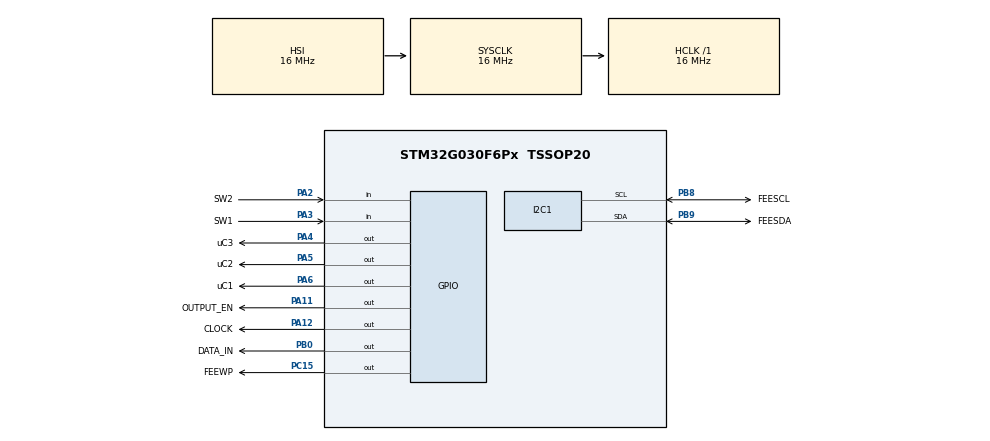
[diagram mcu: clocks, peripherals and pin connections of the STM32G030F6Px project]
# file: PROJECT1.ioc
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I2C1.Timing=0x00503D58
Mcu.Family=STM32G0
Mcu.Name=STM32G030F6Px
Mcu.Package=TSSOP20
NVIC.TIM14_IRQn=true\:0\:0\:false\:false\:true\:true\:true\:true
PA11\ [PA9].GPIO_Label=OUTPUT_EN
PA11\ [PA9].GPIO_ModeDefaultOutputPP=GPIO_MODE_OUTPUT_OD
PA11\ [PA9].GPIO_PuPd=GPIO_NOPULL
PA11\ [PA9].PinState=GPIO_PIN_SET
PA11\ [PA9].Signal=GPIO_Output
PA12\ [PA10].GPIO_Label=CLOCK
PA12\ [PA10].GPIO_ModeDefaultOutputPP=GPIO_MODE_OUTPUT_OD
PA12\ [PA10].GPIO_PuPd=GPIO_NOPULL
PA12\ [PA10].Signal=GPIO_Output
PA14-BOOT0__PA15.StandardMode=true
PA2.GPIO_Label=SW2
PA2.Signal=GPIO_Input
PA3.GPIO_Label=SW1
PA3.Signal=GPIO_Input
PA4.GPIO_Label=uC3
PA4.GPIO_ModeDefaultOutputPP=GPIO_MODE_OUTPUT_PP
PA4.GPIO_PuPd=GPIO_NOPULL
PA4.Signal=GPIO_Output
PA5.GPIO_Label=uC2
PA5.GPIO_ModeDefaultOutputPP=GPIO_MODE_OUTPUT_PP
PA5.GPIO_PuPd=GPIO_NOPULL
PA5.Signal=GPIO_Output
PA6.GPIO_Label=uC1
PA6.GPIO_ModeDefaultOutputPP=GPIO_MODE_OUTPUT_PP
PA6.GPIO_PuPd=GPIO_NOPULL
PA6.Signal=GPIO_Output
PB0.GPIO_Label=DATA_IN
PB0.GPIO_ModeDefaultOutputPP=GPIO_MODE_OUTPUT_OD
PB0.GPIO_PuPd=GPIO_NOPULL
PB0.Signal=GPIO_Output
PB0__PB1__PB2__PA8.StandardMode=true
PB3__PB4__PB5__PB6.StandardMode=true
PB7__PB8.StandardMode=true
PB8.GPIO_Label=FEESCL
PB8.GPIO_Speed=GPIO_SPEED_FREQ_HIGH
PB8.Mode=I2C
PB8.Signal=I2C1_SCL
PB9.GPIO_Label=FEESDA
PB9.GPIO_Speed=GPIO_SPEED_FREQ_HIGH
PB9.Mode=I2C
PB9.Signal=I2C1_SDA
PC14-OSC32_IN\ (PC14)__PB9.StandardMode=true
PC15-OSC32_OUT\ (PC15).GPIO_Label=FEEWP
PC15-OSC32_OUT\ (PC15).GPIO_ModeDefaultOutputPP=GPIO_MODE_OUTPUT_OD
PC15-OSC32_OUT\ (PC15).GPIO_PuPd=GPIO_NOPULL
PC15-OSC32_OUT\ (PC15).Signal=GPIO_Output
ProjectManager.HeapSize=0x200
ProjectManager.StackSize=0x400
ProjectManager.TargetToolchain=STM32CubeIDE
RCC.AHBFreq_Value=16000000
RCC.CortexFreq_Value=16000000
RCC.EXTERNAL_CLOCK_VALUE=12288000
RCC.HCLKFreq_Value=16000000
RCC.HSE_VALUE=8000000
RCC.HSI_VALUE=16000000
RCC.LSE_VALUE=32768
RCC.SYSCLKFreq_VALUE=16000000
RCC.VCOOutputFreq_Value=128000000
TIM14.Period=1000
TIM14.Prescaler=15
VP_TIM14_VS_ClockSourceINT.Mode=Enable_Timer
board=custom

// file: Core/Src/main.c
/* USER CODE BEGIN Header */
/**
  ******************************************************************************
  * @file           : main.c
  * @brief          : Main program body
  ******************************************************************************
  * @attention
  *
  * Copyright (c) 2026 STMicroelectronics.
  * All rights reserved.
  *
  * This software is licensed under terms that can be found in the LICENSE file
  * in the root directory of this software component.
  * If no LICENSE file comes with this software, it is provided AS-IS.
  *
  ******************************************************************************
  */
/* USER CODE END Header */
#include "main.h"

I2C_HandleTypeDef hi2c1;

TIM_HandleTypeDef htim14;

/* USER CODE BEGIN PV */
int16_t TimRef;
int state=1;
int KeyReadFlg=0;
int sw1_status;
int sw2_status;
int sw1_lock=0;
int sw1_lk=0;
int sw2_lk=0;
int sw2_lock=0;
int blink;
int8_t j=0;
int8_t data;
int8_t LedData;
uint8_t digit[10] =
{
    0b01111110, // 0
    0b00110000, // 1
    0b01101101, // 2
    0b01111001, // 3
    0b00110011, // 4
    0b01011011, // 5
    0b01011111, // 6
    0b01110000, // 7
    0b01111111, // 8
	0b01111011
};
uint8_t SetValue = 0;
uint8_t SetMode =0 ;
uint8_t number = 0;
int16_t Tim=0;
uint8_t ones;
uint8_t tens;
uint32_t SetModeTimer = 0;
uint32_t ResetModeTimer = 0;
uint8_t BlinkState = 1;
uint32_t BlinkTimer = 0;
uint32_t SW1PressTimer = 0;
uint32_t SW2PressTimer = 0;

uint8_t SW1LongPress = 0;
uint8_t SW2LongPress = 0;
uint32_t SW1RepeatTimer = 0;
uint32_t SW2RepeatTimer = 0;
/* USER CODE END PV */

void SystemClock_Config(void);
static void MX_GPIO_Init(void);
static void MX_TIM14_Init(void);
static void MX_I2C1_Init(void);
/* USER CODE BEGIN PFP */
//void keyread(void);
//void ledblink(void);
//void keyaction(void);
//void display(void);
//void store(void);
/* USER CODE END PFP */

int main(void)
{

  /* MCU Configuration--------------------------------------------------------*/

  /* Reset of all peripherals, Initializes the Flash interface and the Systick. */
  HAL_Init();

  /* Configure the system clock */
  SystemClock_Config();

  /* Initialize all configured peripherals */
  MX_GPIO_Init();
  MX_TIM14_Init();
  MX_I2C1_Init();
  /* USER CODE BEGIN 2 */
  // DATA = 1
//  {
//  while(1)
//	  HAL_Delay(500);
//	  HAL_GPIO_TogglePin(OUTPUT_EN_GPIO_Port, OUTPUT_EN_Pin);
//	  HAL_GPIO_TogglePin(CLOCK_GPIO_Port, CLOCK_Pin);
//	  HAL_GPIO_TogglePin(DATA_IN_GPIO_Port, DATA_IN_Pin);
//  }
//  HAL_Delay(1000);
//  HAL_GPIO_WritePin(uC1_GPIO_Port, uC1_Pin, GPIO_PIN_RESET);
//  HAL_GPIO_WritePin(uC2_GPIO_Port, uC2_Pin, GPIO_PIN_RESET);
//  HAL_GPIO_WritePin(uC3_GPIO_Port, uC3_Pin, GPIO_PIN_RESET);
//
//  HAL_GPIO_WritePin(CLOCK_GPIO_Port, CLOCK_Pin, GPIO_PIN_RESET);
//  HAL_GPIO_WritePin(OUTPUT_EN_GPIO_Port, OUTPUT_EN_Pin, GPIO_PIN_SET);
//
//  // 8 clock pulses
//  for(int i=0; i<8; i++)
//  {
//	  HAL_GPIO_WritePin(DATA_IN_GPIO_Port, DATA_IN_Pin, GPIO_PIN_SET);
//	  HAL_Delay(5);
//	  HAL_GPIO_WritePin(CLOCK_GPIO_Port, CLOCK_Pin, GPIO_PIN_SET);
//	  HAL_Delay(5);
//	  HAL_GPIO_WritePin(CLOCK_GPIO_Port, CLOCK_Pin, GPIO_PIN_RESET);
//  }
//  HAL_GPIO_WritePin(CLOCK_GPIO_Port, CLOCK_Pin, GPIO_PIN_SET);
//  HAL_Delay(20);
//  HAL_GPIO_WritePin(CLOCK_GPIO_Port, CLOCK_Pin, GPIO_PIN_RESET);
//  HAL_GPIO_WritePin(DATA_IN_GPIO_Port, DATA_IN_Pin, GPIO_PIN_RESET);
//  HAL_GPIO_WritePin(OUTPUT_EN_GPIO_Port, OUTPUT_EN_Pin, GPIO_PIN_RESET);
//  HAL_GPIO_WritePin(uC1_GPIO_Port, uC1_Pin, GPIO_PIN_SET);
//  HAL_GPIO_WritePin(uC2_GPIO_Port, uC2_Pin, GPIO_PIN_SET);
//  HAL_GPIO_WritePin(uC3_GPIO_Port, uC3_Pin, GPIO_PIN_SET);
//HAL_GPIO_WritePin(FEEWP_GPIO_Port, FEEWP_Pin, GPIO_PIN_RESET);
//HAL_I2C_Mem_Write(&hi2c1, 0XA0, 0, 1,digit, sizeof(digit), 1000);
//HAL_GPIO_WritePin(FEEWP_GPIO_Port, FEEWP_Pin, GPIO_PIN_SET);
//HAL_I2C_Mem_Read(&hi2c1, 0XA1, 0, 1, empty , sizeof(empty), 1000);

//  while(1)
//  {
//	  if(TimRef ==1)
//	  {
//		  TimRef=0;
//		  Tim++;
//		  switch (Tim) {
//			case 1:
//				LedData = 0b00000000;
//				break;
//			case 2:
//				LedData = 0b00010000;
//				break;
////			case 3:
////				LedData = 0b00000000;
//				break;
//			default:
//				if(Tim >=2)
//				{
//					Tim=0;
//				}
//				break;
//		}
//		HAL_GPIO_WritePin(uC3_GPIO_Port, uC3_Pin, GPIO_PIN_SET);
//		  for(int i=0;i<8;i++)
//		  {
//			  if(data & (1<<i))
//				  HAL_GPIO_WritePin(DATA_IN_GPIO_Port,DATA_IN_Pin,GPIO_PIN_SET);
//			  else
//				  HAL_GPIO_WritePin(DATA_IN_GPIO_Port,DATA_IN_Pin,GPIO_PIN_RESET);
//
//			  HAL_GPIO_WritePin(CLOCK_GPIO_Port,CLOCK_Pin,GPIO_PIN_SET);
//			  HAL_GPIO_WritePin(CLOCK_GPIO_Port,CLOCK_Pin,GPIO_PIN_RESET);
//		  }
//
//		  HAL_GPIO_WritePin(OUTPUT_EN_GPIO_Port,OUTPUT_EN_Pin,GPIO_PIN_RESET);
//		  HAL_Delay(1000);
//
//	  }
//
//  }

  /* USER CODE END 2 */

  /* Infinite loop */
  while (1)
  {

    /* USER CODE BEGIN 3 */
//	    data = digit[j];
//
//	    HAL_GPIO_WritePin(OUTPUT_EN_GPIO_Port,OUTPUT_EN_Pin,GPIO_PIN_SET);
//
//	    for(int i=0; i<8; i++)
//	    {
//	        if(data & (1<<i))
//	        {
//	            HAL_GPIO_WritePin(DATA_IN_GPIO_Port,DATA_IN_Pin,GPIO_PIN_SET);
//	        }
//	        else
//	        {
//	            HAL_GPIO_WritePin(DATA_IN_GPIO_Port,DATA_IN_Pin,GPIO_PIN_RESET);
//	        }
//
//	        HAL_GPIO_WritePin(CLOCK_GPIO_Port,CLOCK_Pin,GPIO_PIN_SET);
//
//	        HAL_Delay(5);
//
//	        HAL_GPIO_WritePin(CLOCK_GPIO_Port,CLOCK_Pin,GPIO_PIN_RESET);
//
//	        HAL_Delay(5);
//	    }
//
//	    HAL_GPIO_WritePin(OUTPUT_EN_GPIO_Port,OUTPUT_EN_Pin,GPIO_PIN_RESET);
//
//	    HAL_Delay(1000);
//
//	    j++;
//
//	    if(j > 9)
//	    {
//	        j = 0;
//	    }
//	  HAL_GPIO_WritePin(FEEWP_GPIO_Port, FEEWP_Pin, GPIO_PIN_SET);
//	  HAL_I2C_Mem_Read(&hi2c1, 0XA0, 0x00,I2C_MEMADD_SIZE_8BIT,&number,1,1000);
//	  if(TimRef)
//	  {
//		  TimRef =0;
//		  Tim++;
//		  switch(state)
//		  {
//		      case 1:
//
//		          keyread();
//
//		          if(KeyReadFlg == 1)
//		          {
//
//		              keyaction();
//		              KeyReadFlg = 0;
//		              store();
//		          }
//
//		          break;
//		default:
//				if(Tim>=4)
//				{
//					Tim = 0;
//				}
//				break;
//		}
//		  display();
//	  }
      for(int refresh=0; refresh<100; refresh++)
	      {
    	  //state selection
			  if(state == 1)
			  {
				  if(HAL_GPIO_ReadPin(SW1_GPIO_Port, SW1_Pin)==GPIO_PIN_RESET &&
					 HAL_GPIO_ReadPin(SW2_GPIO_Port, SW2_Pin)==GPIO_PIN_RESET)
				  {
					  if(SetModeTimer == 0)
					  {
						  SetModeTimer = HAL_GetTick();
					  }

					  if((HAL_GetTick() - SetModeTimer) >= 2000)
					  {
						  state = 2;

						  HAL_GPIO_WritePin(uC3_GPIO_Port,uC3_Pin,	GPIO_PIN_SET);
						  blink =1;
						  HAL_GPIO_WritePin(FEEWP_GPIO_Port,	FEEWP_Pin,GPIO_PIN_SET);

						  HAL_I2C_Mem_Read(&hi2c1, 0xA0, 0x01, I2C_MEMADD_SIZE_8BIT,  &SetValue,  1,1000);

						  ResetModeTimer = HAL_GetTick();
					  }
				  }
				  else
				  {
					  SetModeTimer = 0;
				  }
			  }
			  if(state == 2)
			  {
			      if((HAL_GetTick() - BlinkTimer) >= 500)
			      {
			          BlinkTimer = HAL_GetTick();
			          if(BlinkState==0)
			          {
			        	  BlinkState=1;
			          }
			          else
			          {
			        	  BlinkState=0;
			          }
			      }
			  }
			  else
			  {
			      BlinkState = 1;
			  }
	    	  if(state==1)
	    	  {
				  //NORMAL MODE
				  HAL_GPIO_WritePin(FEEWP_GPIO_Port, FEEWP_Pin, GPIO_PIN_SET);
				  HAL_I2C_Mem_Read(&hi2c1, 0XA0, 0x00,I2C_MEMADD_SIZE_8BIT,&number,1,1000);
				  tens = number / 10;
				  ones = number % 10;

				  if(HAL_GPIO_ReadPin(SW1_GPIO_Port, SW1_Pin)==GPIO_PIN_RESET)
				  {
					  if(sw1_lock==0)
					  {
						  number++;
						  if(number>99)
						  {
							  number=0;
						  }
						  HAL_GPIO_WritePin(FEEWP_GPIO_Port, FEEWP_Pin, GPIO_PIN_RESET);
						  HAL_I2C_Mem_Write(&hi2c1,0xA0,0x00,I2C_MEMADD_SIZE_8BIT,&number,1,1000);
						  HAL_GPIO_WritePin(FEEWP_GPIO_Port, FEEWP_Pin, GPIO_PIN_SET);

						  tens = number / 10;
						  ones = number % 10;
						  sw1_lock=1;
					   }
				  }
				  else
				  {
					  sw1_lock =0;
				  }
				  if(HAL_GPIO_ReadPin(SW2_GPIO_Port, SW2_Pin)==GPIO_PIN_RESET)
				  {
					  if(sw2_lock==0)
					  {
						  if(number==0)
						  {
							  number=99;
						  }
						  else
						  {
							  number--;
						  }

						  HAL_GPIO_WritePin(FEEWP_GPIO_Port, FEEWP_Pin, GPIO_PIN_RESET);

						  HAL_I2C_Mem_Write(&hi2c1,0xA0,0x00,I2C_MEMADD_SIZE_8BIT, &number, 1,1000);
						  HAL_GPIO_WritePin(FEEWP_GPIO_Port, FEEWP_Pin, GPIO_PIN_SET);

						  tens = number / 10;
						  ones = number % 10;
						  sw2_lock =1;
					  }
				  }
				  else
								  {
									  sw2_lock =0;
								  }

//				  //left
//
//				  HAL_GPIO_WritePin(uC2_GPIO_Port,uC2_Pin,GPIO_PIN_RESET);
//				  HAL_GPIO_WritePin(uC1_GPIO_Port,uC1_Pin,GPIO_PIN_SET);
//
//				  HAL_GPIO_WritePin(OUTPUT_EN_GPIO_Port,OUTPUT_EN_Pin,GPIO_PIN_SET);
//
//				  data = digit[tens];
//
//				  for(int i=0;i<8;i++)
//				  {
//					  if(data & (1<<i))
//						  HAL_GPIO_WritePin(DATA_IN_GPIO_Port,DATA_IN_Pin,GPIO_PIN_SET);
//					  else
//						  HAL_GPIO_WritePin(DATA_IN_GPIO_Port,DATA_IN_Pin,GPIO_PIN_RESET);
//
//					  HAL_GPIO_WritePin(CLOCK_GPIO_Port,CLOCK_Pin,GPIO_PIN_SET);
//					  HAL_GPIO_WritePin(CLOCK_GPIO_Port,CLOCK_Pin,GPIO_PIN_RESET);
//				  }
//
//				  HAL_GPIO_WritePin(OUTPUT_EN_GPIO_Port,OUTPUT_EN_Pin,GPIO_PIN_RESET);
//
//				  HAL_Delay(5);
//
//				  //right
//
//				  HAL_GPIO_WritePin(uC1_GPIO_Port,uC1_Pin,GPIO_PIN_RESET);
//				  HAL_GPIO_WritePin(uC2_GPIO_Port,uC2_Pin,GPIO_PIN_SET);
//
//				  HAL_GPIO_WritePin(OUTPUT_EN_GPIO_Port,OUTPUT_EN_Pin,GPIO_PIN_SET);
//
//				  data = digit[ones];
//
//				  for(int i=0;i<8;i++)
//				  {
//					  if(data & (1<<i))
//						  HAL_GPIO_WritePin(DATA_IN_GPIO_Port, DATA_IN_Pin,GPIO_PIN_SET);
//					  else
//						  HAL_GPIO_WritePin(DATA_IN_GPIO_Port,DATA_IN_Pin,GPIO_PIN_RESET);
//
//					  HAL_GPIO_WritePin(CLOCK_GPIO_Port,CLOCK_Pin,GPIO_PIN_SET);
//
//					  HAL_GPIO_WritePin(CLOCK_GPIO_Port,CLOCK_Pin,GPIO_PIN_RESET);
//				  }
//
//				  HAL_GPIO_WritePin(OUTPUT_EN_GPIO_Port,OUTPUT_EN_Pin, GPIO_PIN_RESET);
//				  HAL_Delay(5);
	     	}

	    	  else if(state == 2)
	    	  {
	    	      tens = SetValue / 10;
	    	      ones = SetValue % 10;

					  // Increment
	    	      if(HAL_GPIO_ReadPin(SW1_GPIO_Port, SW1_Pin)==GPIO_PIN_RESET &&HAL_GPIO_ReadPin(SW2_GPIO_Port, SW2_Pin)==GPIO_PIN_RESET)
	    	      {

	    	      }
	    	      else
	    	      {
					  if(HAL_GPIO_ReadPin(SW1_GPIO_Port, SW1_Pin)==GPIO_PIN_RESET)
					  {
						  if(sw1_lk == 0)
						  {
							  sw1_lk = 1;
							  SW1PressTimer = HAL_GetTick();
							  SW1RepeatTimer = HAL_GetTick();
						  }
						  if((HAL_GetTick() - SW1PressTimer) >= 2000)
							  {
							  if((HAL_GetTick() - SW1RepeatTimer) >= 2000)
								  {
									  SW1RepeatTimer = HAL_GetTick();

									  SetValue += 10;

									  if(SetValue > 99)
									  {
										  SetValue %= 100;
									  }

									  HAL_GPIO_WritePin(FEEWP_GPIO_Port,FEEWP_Pin,GPIO_PIN_RESET);

									  HAL_I2C_Mem_Write(&hi2c1,0xA0,0x01,I2C_MEMADD_SIZE_8BIT, &SetValue,1,1000);

									  HAL_GPIO_WritePin(FEEWP_GPIO_Port,FEEWP_Pin,GPIO_PIN_SET);

									  ResetModeTimer = HAL_GetTick();
								  }
							  }
					  }
					  else
					  {
						  if(sw1_lk == 1)
						  {
							  if((HAL_GetTick() - SW1PressTimer) < 2000)
							  {
								  SetValue++;

								  if(SetValue > 99)
									  SetValue = 0;

								  HAL_GPIO_WritePin(FEEWP_GPIO_Port,FEEWP_Pin,GPIO_PIN_RESET);

								  HAL_I2C_Mem_Write(&hi2c1,0xA0,0x01,I2C_MEMADD_SIZE_8BIT,&SetValue,1,1000);

								  HAL_GPIO_WritePin(FEEWP_GPIO_Port,FEEWP_Pin,GPIO_PIN_SET);

								  ResetModeTimer = HAL_GetTick();
							  }
						  }

						  sw1_lk = 0;
					  }

					  // Decrement
					  if(HAL_GPIO_ReadPin(SW2_GPIO_Port, SW2_Pin) == GPIO_PIN_RESET)
					  {
						  if(sw2_lk == 0)
						  {
							  sw2_lk = 1;
							  SW2PressTimer = HAL_GetTick();
							  SW2RepeatTimer = HAL_GetTick();
						  }

						  // Long Press (-10)
						  if((HAL_GetTick() - SW2PressTimer) >= 2000)
						  {
							  if((HAL_GetTick() - SW2RepeatTimer) >= 2000)
								  {
									  SW2RepeatTimer = HAL_GetTick();

									  if(SetValue < 10)
									  {
										  SetValue = 100 + SetValue - 10;
									  }
									  else
									  {
										  SetValue -= 10;
									  }

									  HAL_GPIO_WritePin(FEEWP_GPIO_Port, FEEWP_Pin, GPIO_PIN_RESET);

									  HAL_I2C_Mem_Write(&hi2c1,0xA0,0x01,I2C_MEMADD_SIZE_8BIT,&SetValue,1,1000);

									  HAL_GPIO_WritePin(FEEWP_GPIO_Port, FEEWP_Pin, GPIO_PIN_SET);

									  ResetModeTimer = HAL_GetTick();
								  }
						  }
					  }
					  else
					  {
						  // Button Released
						  if(sw2_lk == 1)
						  {
							  // Short Press (-1)
							  if((HAL_GetTick() - SW2PressTimer) < 2000)
							  {
								  if(SetValue == 0)
								  {
									  SetValue = 99;
								  }
								  else
								  {
									  SetValue--;
								  }

								  HAL_GPIO_WritePin(FEEWP_GPIO_Port, FEEWP_Pin, GPIO_PIN_RESET);

								  HAL_I2C_Mem_Write(&hi2c1,0xA0,0x01,I2C_MEMADD_SIZE_8BIT,&SetValue, 1, 1000);

								  HAL_GPIO_WritePin(FEEWP_GPIO_Port, FEEWP_Pin, GPIO_PIN_SET);

								  ResetModeTimer = HAL_GetTick();
							  }
						  }

						  // Reset locks after release
						  sw2_lk = 0;
					  }
	    	      }
	    	      // Exit after 10 sec

	    	      if((HAL_GetTick() - ResetModeTimer) >= 10000)
	    	      {
	    	          state = 1;
	    	          blink = 0;
	    	          HAL_GPIO_WritePin(uC3_GPIO_Port,uC3_Pin,GPIO_PIN_RESET);

	    	          SetModeTimer = 0;
	    	      }
	    	  }
	    	  	  	  	  	  //left

	    	  				  HAL_GPIO_WritePin(uC2_GPIO_Port,uC2_Pin,GPIO_PIN_RESET);
	    	  				  HAL_GPIO_WritePin(uC1_GPIO_Port,uC1_Pin,GPIO_PIN_SET);

	    	  				  HAL_GPIO_WritePin(OUTPUT_EN_GPIO_Port,OUTPUT_EN_Pin,GPIO_PIN_SET);

	    	  				if(state == 2 && BlinkState == 0)
	    	  				{
	    	  				    data = 0x00;      // Blank
	    	  				}
	    	  				else
	    	  				{
	    	  				    data = digit[tens];
	    	  				}

	    	  				  for(int i=0;i<8;i++)
	    	  				  {
	    	  					  if(data & (1<<i))
	    	  						  HAL_GPIO_WritePin(DATA_IN_GPIO_Port,DATA_IN_Pin,GPIO_PIN_SET);
	    	  					  else
	    	  						  HAL_GPIO_WritePin(DATA_IN_GPIO_Port,DATA_IN_Pin,GPIO_PIN_RESET);

	    	  					  HAL_GPIO_WritePin(CLOCK_GPIO_Port,CLOCK_Pin,GPIO_PIN_SET);
	    	  					  HAL_GPIO_WritePin(CLOCK_GPIO_Port,CLOCK_Pin,GPIO_PIN_RESET);
	    	  				  }

	    	  				  HAL_GPIO_WritePin(OUTPUT_EN_GPIO_Port,OUTPUT_EN_Pin,GPIO_PIN_RESET);

	    	  				  HAL_Delay(5);

	    	  				  //right

	    	  				  HAL_GPIO_WritePin(uC1_GPIO_Port,uC1_Pin,GPIO_PIN_RESET);
	    	  				  HAL_GPIO_WritePin(uC2_GPIO_Port,uC2_Pin,GPIO_PIN_SET);

	    	  				  HAL_GPIO_WritePin(OUTPUT_EN_GPIO_Port,OUTPUT_EN_Pin,GPIO_PIN_SET);

	    	  				if(state == 2 && BlinkState == 0)
	    	  				{
	    	  				    data = 0x00;
	    	  				}
	    	  				else
	    	  				{
	    	  				    data = digit[ones];
	    	  				}

	    	  				  for(int i=0;i<8;i++)
	    	  				  {
	    	  					  if(data & (1<<i))
	    	  						  HAL_GPIO_WritePin(DATA_IN_GPIO_Port, DATA_IN_Pin,GPIO_PIN_SET);
	    	  					  else
	    	  						  HAL_GPIO_WritePin(DATA_IN_GPIO_Port,DATA_IN_Pin,GPIO_PIN_RESET);

	    	  					  HAL_GPIO_WritePin(CLOCK_GPIO_Port,CLOCK_Pin,GPIO_PIN_SET);

	    	  					  HAL_GPIO_WritePin(CLOCK_GPIO_Port,CLOCK_Pin,GPIO_PIN_RESET);
	    	  				  }

	    	  				  HAL_GPIO_WritePin(OUTPUT_EN_GPIO_Port,OUTPUT_EN_Pin, GPIO_PIN_RESET);
	    	  				  HAL_Delay(5);

	    	  				if(state == 2)
	    	  				{
	    	  				    HAL_GPIO_WritePin(uC1_GPIO_Port, uC1_Pin, GPIO_PIN_RESET);
	    	  				    HAL_GPIO_WritePin(uC2_GPIO_Port, uC2_Pin, GPIO_PIN_RESET);

	    	  				    HAL_GPIO_WritePin(uC3_GPIO_Port, uC3_Pin, GPIO_PIN_SET);

	    	  				    HAL_GPIO_WritePin(OUTPUT_EN_GPIO_Port, OUTPUT_EN_Pin, GPIO_PIN_SET);

	    	  				    data = 0b0100000;      // Only B ON

	    	  				    for(int i=0;i<8;i++)
	    	  				    {
	    	  				        if(data & (1<<i))
	    	  				            HAL_GPIO_WritePin(DATA_IN_GPIO_Port,DATA_IN_Pin,GPIO_PIN_SET);
	    	  				        else
	    	  				            HAL_GPIO_WritePin(DATA_IN_GPIO_Port,DATA_IN_Pin,GPIO_PIN_RESET);

	    	  				        HAL_GPIO_WritePin(CLOCK_GPIO_Port,CLOCK_Pin,GPIO_PIN_SET);
	    	  				        HAL_GPIO_WritePin(CLOCK_GPIO_Port,CLOCK_Pin,GPIO_PIN_RESET);
	    	  				    }

	    	  				    HAL_GPIO_WritePin(OUTPUT_EN_GPIO_Port, OUTPUT_EN_Pin, GPIO_PIN_RESET);

	    	  				    HAL_Delay(2);

	    	  				    HAL_GPIO_WritePin(uC3_GPIO_Port, uC3_Pin, GPIO_PIN_RESET);
	    	  				}
	      }
	  }

}
  /* USER CODE END 3 */

void SystemClock_Config(void)
{
  RCC_OscInitTypeDef RCC_OscInitStruct = {0};
  RCC_ClkInitTypeDef RCC_ClkInitStruct = {0};

  /** Configure the main internal regulator output voltage
  */
  HAL_PWREx_ControlVoltageScaling(PWR_REGULATOR_VOLTAGE_SCALE1);

  /** Initializes the RCC Oscillators according to the specified parameters
  * in the RCC_OscInitTypeDef structure.
  */
  RCC_OscInitStruct.OscillatorType = RCC_OSCILLATORTYPE_HSI;
  RCC_OscInitStruct.HSIState = RCC_HSI_ON;
  RCC_OscInitStruct.HSIDiv = RCC_HSI_DIV1;
  RCC_OscInitStruct.HSICalibrationValue = RCC_HSICALIBRATION_DEFAULT;
  RCC_OscInitStruct.PLL.PLLState = RCC_PLL_NONE;
  if (HAL_RCC_OscConfig(&RCC_OscInitStruct) != HAL_OK)
  {
    Error_Handler();
  }

  /** Initializes the CPU, AHB and APB buses clocks
  */
  RCC_ClkInitStruct.ClockType = RCC_CLOCKTYPE_HCLK|RCC_CLOCKTYPE_SYSCLK
                              |RCC_CLOCKTYPE_PCLK1;
  RCC_ClkInitStruct.SYSCLKSource = RCC_SYSCLKSOURCE_HSI;
  RCC_ClkInitStruct.AHBCLKDivider = RCC_SYSCLK_DIV1;
  RCC_ClkInitStruct.APB1CLKDivider = RCC_HCLK_DIV1;

  if (HAL_RCC_ClockConfig(&RCC_ClkInitStruct, FLASH_LATENCY_0) != HAL_OK)
  {
    Error_Handler();
  }
}

static void MX_I2C1_Init(void)
{

  hi2c1.Instance = I2C1;
  hi2c1.Init.Timing = 0x00503D58;
  hi2c1.Init.OwnAddress1 = 0;
  hi2c1.Init.AddressingMode = I2C_ADDRESSINGMODE_7BIT;
  hi2c1.Init.DualAddressMode = I2C_DUALADDRESS_DISABLE;
  hi2c1.Init.OwnAddress2 = 0;
  hi2c1.Init.OwnAddress2Masks = I2C_OA2_NOMASK;
  hi2c1.Init.GeneralCallMode = I2C_GENERALCALL_DISABLE;
  hi2c1.Init.NoStretchMode = I2C_NOSTRETCH_DISABLE;
  if (HAL_I2C_Init(&hi2c1) != HAL_OK)
  {
    Error_Handler();
  }

  /** Configure Analogue filter
  */
  if (HAL_I2CEx_ConfigAnalogFilter(&hi2c1, I2C_ANALOGFILTER_ENABLE) != HAL_OK)
  {
    Error_Handler();
  }

  /** Configure Digital filter
  */
  if (HAL_I2CEx_ConfigDigitalFilter(&hi2c1, 0) != HAL_OK)
  {
    Error_Handler();
  }

}

static void MX_TIM14_Init(void)
{

  htim14.Instance = TIM14;
  htim14.Init.Prescaler = 15;
  htim14.Init.CounterMode = TIM_COUNTERMODE_UP;
  htim14.Init.Period = 1000;
  htim14.Init.ClockDivision = TIM_CLOCKDIVISION_DIV1;
  htim14.Init.AutoReloadPreload = TIM_AUTORELOAD_PRELOAD_DISABLE;
  if (HAL_TIM_Base_Init(&htim14) != HAL_OK)
  {
    Error_Handler();
  }
  /* USER CODE BEGIN TIM14_Init 2 */
  HAL_TIM_Base_Start_IT(&htim14);
  /* USER CODE END TIM14_Init 2 */

}

static void MX_GPIO_Init(void)
{
  GPIO_InitTypeDef GPIO_InitStruct = {0};

  /* GPIO Ports Clock Enable */
  __HAL_RCC_GPIOB_CLK_ENABLE();
  __HAL_RCC_GPIOC_CLK_ENABLE();
  __HAL_RCC_GPIOA_CLK_ENABLE();

  /*Configure GPIO pin Output Level */
  HAL_GPIO_WritePin(FEEWP_GPIO_Port, FEEWP_Pin, GPIO_PIN_RESET);

  /*Configure GPIO pin Output Level */
  HAL_GPIO_WritePin(GPIOA, uC3_Pin|uC2_Pin|uC1_Pin|CLOCK_Pin, GPIO_PIN_RESET);

  /*Configure GPIO pin Output Level */
  HAL_GPIO_WritePin(DATA_IN_GPIO_Port, DATA_IN_Pin, GPIO_PIN_RESET);

  /*Configure GPIO pin Output Level */
  HAL_GPIO_WritePin(OUTPUT_EN_GPIO_Port, OUTPUT_EN_Pin, GPIO_PIN_SET);

  /*Configure GPIO pin : FEEWP_Pin */
  GPIO_InitStruct.Pin = FEEWP_Pin;
  GPIO_InitStruct.Mode = GPIO_MODE_OUTPUT_OD;
  GPIO_InitStruct.Pull = GPIO_NOPULL;
  GPIO_InitStruct.Speed = GPIO_SPEED_FREQ_LOW;
  HAL_GPIO_Init(FEEWP_GPIO_Port, &GPIO_InitStruct);

  /*Configure GPIO pins : SW2_Pin SW1_Pin */
  GPIO_InitStruct.Pin = SW2_Pin|SW1_Pin;
  GPIO_InitStruct.Mode = GPIO_MODE_INPUT;
  GPIO_InitStruct.Pull = GPIO_NOPULL;
  HAL_GPIO_Init(GPIOA, &GPIO_InitStruct);

  /*Configure GPIO pins : uC3_Pin uC2_Pin uC1_Pin */
  GPIO_InitStruct.Pin = uC3_Pin|uC2_Pin|uC1_Pin;
  GPIO_InitStruct.Mode = GPIO_MODE_OUTPUT_PP;
  GPIO_InitStruct.Pull = GPIO_NOPULL;
  GPIO_InitStruct.Speed = GPIO_SPEED_FREQ_LOW;
  HAL_GPIO_Init(GPIOA, &GPIO_InitStruct);

  /*Configure GPIO pin : DATA_IN_Pin */
  GPIO_InitStruct.Pin = DATA_IN_Pin;
  GPIO_InitStruct.Mode = GPIO_MODE_OUTPUT_OD;
  GPIO_InitStruct.Pull = GPIO_NOPULL;
  GPIO_InitStruct.Speed = GPIO_SPEED_FREQ_LOW;
  HAL_GPIO_Init(DATA_IN_GPIO_Port, &GPIO_InitStruct);

  /*Configure GPIO pins : OUTPUT_EN_Pin CLOCK_Pin */
  GPIO_InitStruct.Pin = OUTPUT_EN_Pin|CLOCK_Pin;
  GPIO_InitStruct.Mode = GPIO_MODE_OUTPUT_OD;
  GPIO_InitStruct.Pull = GPIO_NOPULL;
  GPIO_InitStruct.Speed = GPIO_SPEED_FREQ_LOW;
  HAL_GPIO_Init(GPIOA, &GPIO_InitStruct);

}

/* USER CODE BEGIN 4 */
//void ledblink(void)
//{
//	  if(blink==1)
//	  {
////		  Tim++;
////		  switch (Tim) {
////			case 1:
////				LedData = 0b00000000;
////				break;
////			case 2:
////				LedData = 0b00010000;
////				break;
//////			case 3:
//////				LedData = 0b00000000;
////				break;
////			default:
////				if(Tim >=2)
////				{
////					Tim=0;
////				}
////				break;
//		  LedData =0b00010000;
//		}
//	  else
//	  {
//		  LedData = 0b00000000;
//	  }
//		HAL_GPIO_WritePin(uC3_GPIO_Port, uC3_Pin, GPIO_PIN_SET);
//		  for(int i=0;i<8;i++)
//		  {
//			  if(LedData & (1<<i))
//				  HAL_GPIO_WritePin(DATA_IN_GPIO_Port,DATA_IN_Pin,GPIO_PIN_SET);
//			  else
//				  HAL_GPIO_WritePin(DATA_IN_GPIO_Port,DATA_IN_Pin,GPIO_PIN_RESET);
//
//			  HAL_GPIO_WritePin(CLOCK_GPIO_Port,CLOCK_Pin,GPIO_PIN_SET);
//			  HAL_GPIO_WritePin(CLOCK_GPIO_Port,CLOCK_Pin,GPIO_PIN_RESET);
//		  }
//
//		  HAL_GPIO_WritePin(OUTPUT_EN_GPIO_Port,OUTPUT_EN_Pin,GPIO_PIN_RESET);
// }

//void keyread(void)
//{
//	sw1_status=HAL_GPIO_ReadPin(SW1_GPIO_Port, SW1_Pin);
//	sw2_status=HAL_GPIO_ReadPin(SW2_GPIO_Port, SW2_Pin);
//	if((sw1_status   == 0) || (sw2_status   == 0))
//	{
//		KeyReadFlg=1;
//	}
//}
//
//void keyaction(void)
//{
//	//increment
//	if(sw1_status==GPIO_PIN_RESET)
//				  {
//					  if(sw1_lock==0)
//					  {
//						  number++;
//
//						  if(number>99)
//						  {
//							  number=0;
//						  }
//
//						  tens = number / 10;
//						  ones = number % 10;
//						  sw1_lock=1;
//					   }
//				  }
//				  else
//				  {
//					  sw1_lock =0;
//				  }
//
//
//	//decrement
//	if(sw2_status==GPIO_PIN_RESET)
//				  {
//					  if(sw2_lock==0)
//					  {
//						  if(number==0)
//						  {
//							  number=99;
//						  }
//						  else
//						  {
//							  number--;
//						  }
////
////						  HAL_GPIO_WritePin(FEEWP_GPIO_Port, FEEWP_Pin, GPIO_PIN_RESET);
////
////						  HAL_I2C_Mem_Write(&hi2c1,0xA0,0x01,I2C_MEMADD_SIZE_8BIT, &number, 1,1000);
////						  HAL_GPIO_WritePin(FEEWP_GPIO_Port, FEEWP_Pin, GPIO_PIN_SET);
//
//						  tens = number / 10;
//						  ones = number % 10;
//						  sw2_lock =1;
//					  }
//				  }
//				  else
//				  {
//				  		sw2_lock =0;
//				  }
//}
//
//void store(void)
//{
//	  HAL_GPIO_WritePin(FEEWP_GPIO_Port, FEEWP_Pin, GPIO_PIN_RESET);
//	  HAL_I2C_Mem_Write(&hi2c1,0xA0,0x01,I2C_MEMADD_SIZE_8BIT, &number, 1,1000);
//	  HAL_GPIO_WritePin(FEEWP_GPIO_Port, FEEWP_Pin, GPIO_PIN_SET);
//}
//
//void display(void)
//{
//	  //left
//
//    HAL_GPIO_WritePin(uC2_GPIO_Port,uC2_Pin,GPIO_PIN_RESET);
//    HAL_GPIO_WritePin(uC1_GPIO_Port,uC1_Pin,GPIO_PIN_SET);
//
//    HAL_GPIO_WritePin(OUTPUT_EN_GPIO_Port,OUTPUT_EN_Pin,GPIO_PIN_SET);
//
//    data = digit[tens];
//
//    for(int i=0;i<8;i++)
//    {
//        if(data & (1<<i))
//            HAL_GPIO_WritePin(DATA_IN_GPIO_Port,DATA_IN_Pin,GPIO_PIN_SET);
//        else
//            HAL_GPIO_WritePin(DATA_IN_GPIO_Port,DATA_IN_Pin,GPIO_PIN_RESET);
//
//        HAL_GPIO_WritePin(CLOCK_GPIO_Port,CLOCK_Pin,GPIO_PIN_SET);
//        HAL_GPIO_WritePin(CLOCK_GPIO_Port,CLOCK_Pin,GPIO_PIN_RESET);
//    }
//
//    HAL_GPIO_WritePin(OUTPUT_EN_GPIO_Port,OUTPUT_EN_Pin,GPIO_PIN_RESET);
//
//    HAL_Delay(5);
//
//    //right
//
//    HAL_GPIO_WritePin(uC1_GPIO_Port,uC1_Pin,GPIO_PIN_RESET);
//    HAL_GPIO_WritePin(uC2_GPIO_Port,uC2_Pin,GPIO_PIN_SET);
//
//    HAL_GPIO_WritePin(OUTPUT_EN_GPIO_Port,OUTPUT_EN_Pin,GPIO_PIN_SET);
//
//    data = digit[ones];
//
//    for(int i=0;i<8;i++)
//    {
//        if(data & (1<<i))
//            HAL_GPIO_WritePin(DATA_IN_GPIO_Port, DATA_IN_Pin,GPIO_PIN_SET);
//        else
//            HAL_GPIO_WritePin(DATA_IN_GPIO_Port,DATA_IN_Pin,GPIO_PIN_RESET);
//
//        HAL_GPIO_WritePin(CLOCK_GPIO_Port,CLOCK_Pin,GPIO_PIN_SET);
//
//        HAL_GPIO_WritePin(CLOCK_GPIO_Port,CLOCK_Pin,GPIO_PIN_RESET);
//    }
//
//    HAL_GPIO_WritePin(OUTPUT_EN_GPIO_Port,OUTPUT_EN_Pin, GPIO_PIN_RESET);
//    HAL_Delay(5);
//}

/* USER CODE END 4 */

void Error_Handler(void)
{
  __disable_irq();
  while (1)
  {
  }
}
